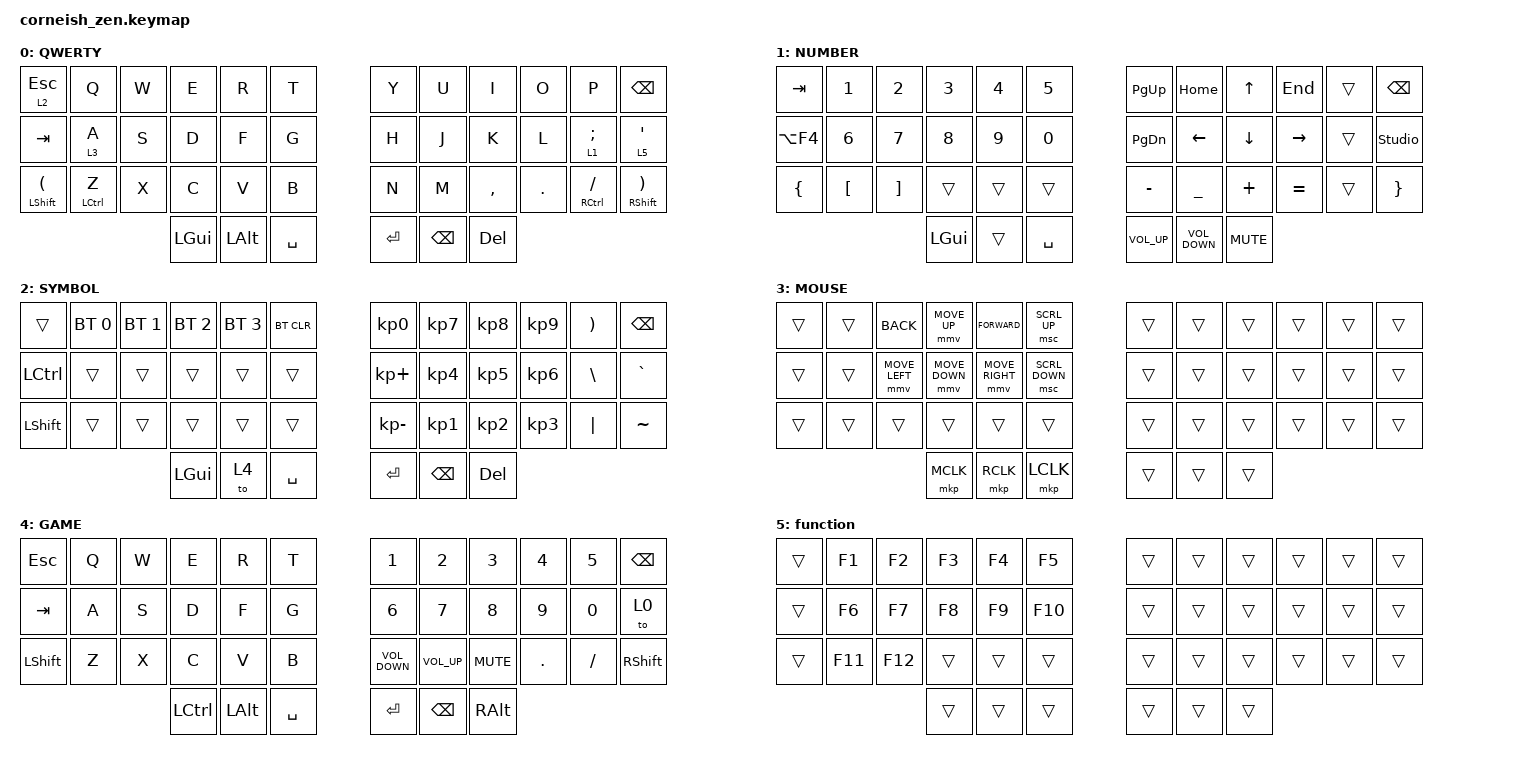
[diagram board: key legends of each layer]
#include <behaviors.dtsi>
#include <dt-bindings/zmk/bt.h>
#include <dt-bindings/zmk/keys.h>
#include <dt-bindings/zmk/pointing.h>

&lt { quick-tap-ms = <150>; };

&mt { quick-tap-ms = <150>; };

/ {
    chosen {
        zmk,physical-layout = &foostan_corne_6col_layout;

        // zmk,physical-layout = &foostan_corne_5col_layout;
    };
};

/ {
    keymap {
        compatible = "zmk,keymap";

        default_layer {
            display-name = "QWERTY";

            // --------------------------------------------------------------------------------
            // |  TAB |  Q  |  W  |  E  |  R  |  T  |   |  Y  |  U   |  I  |  O  |  P  | BSPC |
            // | CTRL |  A  |  S  |  D  |  F  |  G  |   |  H  |  J   |  K  |  L  |  ;  |  '   |
            // | SHFT |  Z  |  X  |  C  |  V  |  B  |   |  N  |  M   |  ,  |  .  |  /  | ESC  |
            //                    | GUI | LWR | SPC |   | ENT | RSE  | ALT |

            bindings = <
&lt 2 ESC                   &kp Q               &kp W  &kp E     &kp R     &kp T        &kp Y    &kp U          &kp I       &kp O    &kp P                    &kp BSPC
&kp TAB                     &lt 3 A             &kp S  &kp D     &kp F     &kp G        &kp H    &kp J          &kp K       &kp L    &lt 1 SEMICOLON          &lt 5 SQT
&mt LSHFT LEFT_PARENTHESIS  &mt LEFT_CONTROL Z  &kp X  &kp C     &kp V     &kp B        &kp N    &kp M          &kp COMMA   &kp DOT  &mt RIGHT_CONTROL SLASH  &mt RIGHT_SHIFT RIGHT_PARENTHESIS
                                                       &kp LGUI  &kp LALT  &kp SPACE    &kp RET  &kp BACKSPACE  &kp DELETE
            >;
        };

        lower_layer {
            display-name = "NUMBER";

            // -----------------------------------------------------------------------------------------
            // |  TAB |  1  |  2  |  3  |  4  |  5  |   |  6  |  7  |  8  |  9  |  0  | BSPC |
            // | BTCLR| BT1 | BT2 | BT3 | BT4 | BT5 |   | LFT | DWN |  UP | RGT |     |Studio|
            // | SHFT |     |     |     |     |     |   |     |     |     |     |     |      |
            //                    | GUI |     | SPC |   | ENT |     | ALT |

            bindings = <
&kp TAB         &kp N1            &kp N2             &kp N3    &kp N4  &kp N5       &kp PG_UP        &kp HOME           &kp UP_ARROW  &kp END    &trans  &kp BSPC
&kp LA(F4)      &kp N6            &kp N7             &kp N8    &kp N9  &kp N0       &kp PAGE_DOWN    &kp LEFT           &kp DOWN      &kp RIGHT  &trans  &studio_unlock
&kp LEFT_BRACE  &kp LEFT_BRACKET  &kp RIGHT_BRACKET  &trans    &trans  &trans       &kp MINUS        &kp UNDERSCORE     &kp PLUS      &kp EQUAL  &trans  &kp RIGHT_BRACE
                                                     &kp LGUI  &trans  &kp SPACE    &kp C_VOLUME_UP  &kp C_VOLUME_DOWN  &kp C_MUTE
            >;
        };

        raise_layer {
            display-name = "SYMBOL";

            // -----------------------------------------------------------------------------------------
            // |  TAB |  !  |  @  |  #  |  $  |  %  |   |  ^  |  &  |  *  |  (  |  )  | BSPC |
            // | CTRL |     |     |     |     |     |   |  -  |  =  |  [  |  ]  |  \  |  `   |
            // | SHFT |     |     |     |     |     |   |  _  |  +  |  {  |  }  | "|" |  ~   |
            //                    | GUI |     | SPC |   | ENT |     | ALT |

            bindings = <
&trans     &bt BT_SEL 0  &bt BT_SEL 1  &bt BT_SEL 2  &bt BT_SEL 3  &bt BT_CLR    &kp KP_N0     &kp KP_N7      &kp KP_N8   &kp KP_N9  &kp RPAR  &kp BSPC
&kp LCTRL  &trans        &trans        &trans        &trans        &trans        &kp KP_PLUS   &kp KP_N4      &kp KP_N5   &kp KP_N6  &kp BSLH  &kp GRAVE
&kp LSHFT  &trans        &trans        &trans        &trans        &trans        &kp KP_MINUS  &kp KP_N1      &kp KP_N2   &kp KP_N3  &kp PIPE  &kp TILDE
                                       &kp LGUI      &to 4         &kp SPACE     &kp RET       &kp BACKSPACE  &kp DELETE
            >;
        };

        layer_3 {
            bindings = <
&trans  &trans  &kp K_BACK      &mmv MOVE_UP    &kp K_FORWARD    &msc SCRL_UP      &trans  &trans  &trans  &trans  &trans  &trans
&trans  &trans  &mmv MOVE_LEFT  &mmv MOVE_DOWN  &mmv MOVE_RIGHT  &msc SCRL_DOWN    &trans  &trans  &trans  &trans  &trans  &trans
&trans  &trans  &trans          &trans          &trans           &trans            &trans  &trans  &trans  &trans  &trans  &trans
                                &mkp MCLK       &mkp RCLK        &mkp LCLK         &trans  &trans  &trans
            >;

            label = "MOUSE";
        };

        layer_4 {
            bindings = <
&kp ESC    &kp Q  &kp W  &kp E      &kp R     &kp T        &kp N1             &kp N2           &kp N3      &kp N4   &kp N5    &kp BSPC
&kp TAB    &kp A  &kp S  &kp D      &kp F     &kp G        &kp N6             &kp N7           &kp N8      &kp N9   &kp N0    &to 0
&kp LSHFT  &kp Z  &kp X  &kp C      &kp V     &kp B        &kp C_VOLUME_DOWN  &kp C_VOLUME_UP  &kp C_MUTE  &kp DOT  &kp FSLH  &kp RSHFT
                         &kp LCTRL  &kp LALT  &kp SPACE    &kp RET            &kp BSPC         &kp RALT
            >;

            label = "GAME";
        };

        function {
            bindings = <
&trans  &kp F1   &kp F2   &kp F3  &kp F4  &kp F5     &trans  &trans  &trans  &trans  &trans  &trans
&trans  &kp F6   &kp F7   &kp F8  &kp F9  &kp F10    &trans  &trans  &trans  &trans  &trans  &trans
&trans  &kp F11  &kp F12  &trans  &trans  &trans     &trans  &trans  &trans  &trans  &trans  &trans
                          &trans  &trans  &trans     &trans  &trans  &trans
            >;
        };
    };
};
